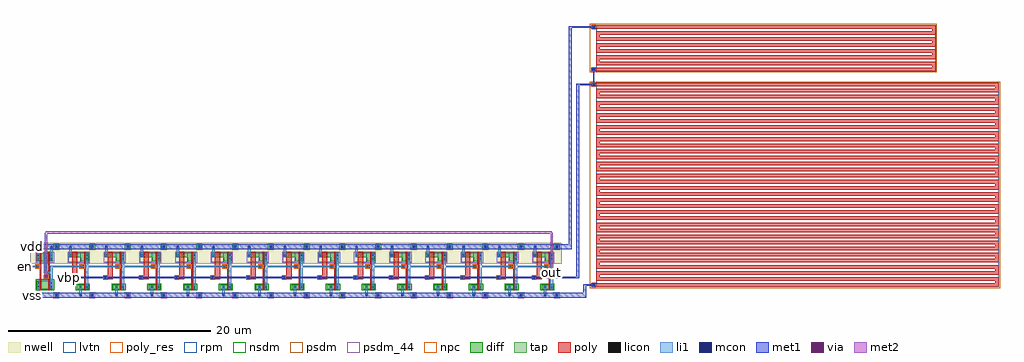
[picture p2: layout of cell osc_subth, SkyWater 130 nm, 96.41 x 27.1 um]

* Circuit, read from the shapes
.subckt osc_subth en out vbp vdd vss
XM1 n1 en vss vss sky130_fd_pr__nfet_01v8 w=0.84 l=0.15
XM2 n2 out n1 vss sky130_fd_pr__nfet_01v8 w=0.84 l=0.15
XM3 n3 n2 vss vss sky130_fd_pr__nfet_01v8 w=0.42 l=0.15
XM4 n4 n3 vss vss sky130_fd_pr__nfet_01v8 w=0.42 l=0.15
XM5 n5 n4 vss vss sky130_fd_pr__nfet_01v8 w=0.42 l=0.15
XM6 n6 n5 vss vss sky130_fd_pr__nfet_01v8 w=0.42 l=0.15
XM7 n7 n6 vss vss sky130_fd_pr__nfet_01v8 w=0.42 l=0.15
XM8 n8 n7 vss vss sky130_fd_pr__nfet_01v8 w=0.42 l=0.15
XM9 n9 n8 vss vss sky130_fd_pr__nfet_01v8 w=0.42 l=0.15
XM10 n10 n9 vss vss sky130_fd_pr__nfet_01v8 w=0.42 l=0.15
XM11 n11 n10 vss vss sky130_fd_pr__nfet_01v8 w=0.42 l=0.15
XM12 n12 n11 vss vss sky130_fd_pr__nfet_01v8 w=0.42 l=0.15
XM13 n13 n12 vss vss sky130_fd_pr__nfet_01v8 w=0.42 l=0.15
XM14 n14 n13 vss vss sky130_fd_pr__nfet_01v8 w=0.42 l=0.15
XM15 n15 n14 vss vss sky130_fd_pr__nfet_01v8 w=0.42 l=0.15
XM16 out n15 vss vss sky130_fd_pr__nfet_01v8 w=0.42 l=0.15
XM17 n2 en vdd vdd sky130_fd_pr__pfet_01v8 w=0.84 l=0.15
XM18 vdd out n2 vdd sky130_fd_pr__pfet_01v8 w=0.84 l=0.15
XM19 n16 vbp vdd vdd sky130_fd_pr__pfet_01v8_lvt w=0.42 l=0.5
XM20 n3 n2 n16 vdd sky130_fd_pr__pfet_01v8 w=0.84 l=0.15
XM21 n17 vbp vdd vdd sky130_fd_pr__pfet_01v8_lvt w=0.42 l=0.5
XM22 n4 n3 n17 vdd sky130_fd_pr__pfet_01v8 w=0.84 l=0.15
XM23 n18 vbp vdd vdd sky130_fd_pr__pfet_01v8_lvt w=0.42 l=0.5
XM24 n5 n4 n18 vdd sky130_fd_pr__pfet_01v8 w=0.84 l=0.15
XM25 n19 vbp vdd vdd sky130_fd_pr__pfet_01v8_lvt w=0.42 l=0.5
XM26 n6 n5 n19 vdd sky130_fd_pr__pfet_01v8 w=0.84 l=0.15
XM27 n20 vbp vdd vdd sky130_fd_pr__pfet_01v8_lvt w=0.42 l=0.5
XM28 n7 n6 n20 vdd sky130_fd_pr__pfet_01v8 w=0.84 l=0.15
XM29 n21 vbp vdd vdd sky130_fd_pr__pfet_01v8_lvt w=0.42 l=0.5
XM30 n8 n7 n21 vdd sky130_fd_pr__pfet_01v8 w=0.84 l=0.15
XM31 n22 vbp vdd vdd sky130_fd_pr__pfet_01v8_lvt w=0.42 l=0.5
XM32 n9 n8 n22 vdd sky130_fd_pr__pfet_01v8 w=0.84 l=0.15
XM33 n23 vbp vdd vdd sky130_fd_pr__pfet_01v8_lvt w=0.42 l=0.5
XM34 n10 n9 n23 vdd sky130_fd_pr__pfet_01v8 w=0.84 l=0.15
XM35 n24 vbp vdd vdd sky130_fd_pr__pfet_01v8_lvt w=0.42 l=0.5
XM36 n11 n10 n24 vdd sky130_fd_pr__pfet_01v8 w=0.84 l=0.15
XM37 n25 vbp vdd vdd sky130_fd_pr__pfet_01v8_lvt w=0.42 l=0.5
XM38 n12 n11 n25 vdd sky130_fd_pr__pfet_01v8 w=0.84 l=0.15
XM39 n26 vbp vdd vdd sky130_fd_pr__pfet_01v8_lvt w=0.42 l=0.5
XM40 n13 n12 n26 vdd sky130_fd_pr__pfet_01v8 w=0.84 l=0.15
XM41 n27 vbp vdd vdd sky130_fd_pr__pfet_01v8_lvt w=0.42 l=0.5
XM42 n14 n13 n27 vdd sky130_fd_pr__pfet_01v8 w=0.84 l=0.15
XM43 n28 vbp vdd vdd sky130_fd_pr__pfet_01v8_lvt w=0.42 l=0.5
XM44 n15 n14 n28 vdd sky130_fd_pr__pfet_01v8 w=0.84 l=0.15
XM45 n29 vbp vdd vdd sky130_fd_pr__pfet_01v8_lvt w=0.42 l=0.5
XM46 out n15 n29 vdd sky130_fd_pr__pfet_01v8 w=0.84 l=0.15
XR47 vss vbp vss sky130_fd_pr__res_high_po w=0.35 l=1359.8
XR48 vbp vdd vss sky130_fd_pr__res_high_po w=0.35 l=269.87
.ends

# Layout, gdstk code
import gdstk
lib = gdstk.Library(unit=1e-6, precision=1e-09)
def R(c, l, rs):  # rectangles x0, y0, x1, y1
    for r in rs: c.add(gdstk.rectangle(r[:2], r[2:], *l))
def A(c, l, x, y, w, h, nx, ny, dx, dy):  # array of equal rectangles
    R(c, l, [(x+i*dx, y+j*dy, x+i*dx+w, y+j*dy+h) for i in range(nx) for j in range(ny)])
nwell = (64, 20)
diff = (65, 20)
tap = (65, 44)
poly_res = (66, 13)
poly = (66, 20)
licon = (66, 44)
li1 = (67, 20)
mcon = (67, 44)
met1 = (68, 20)
via = (68, 44)
met2 = (69, 20)
rpm = (86, 20)
nsdm = (93, 44)
psdm = (94, 20)
psdm_44 = (94, 44)
npc = (95, 20)
lvtn = (125, 44)

osc_subth = lib.new_cell('osc_subth')
R(osc_subth, nwell, [(-0.15,3.09,52.35,5.18)])
A(osc_subth, diff, 4.47, 0.6, 1.14, 0.42, 14, 1, 3.53, 0)
A(osc_subth, diff, 4.82, 3.34, 0.79, 0.84, 14, 1, 3.53, 0)
A(osc_subth, diff, 3.68, 3.76, 1.14, 0.42, 14, 1, 3.53, 0)
R(osc_subth, diff, [(0.5,0.6,2.08,1.44), (0.5,3.34,2.08,4.18)])
A(osc_subth, tap, 2.26, -0.17, 0.34, 0.34, 15, 2, 3.53, 4.78)
R(osc_subth, poly_res, [(55.75,0.825,95.505,20.975), (55.75,22.125,89.28,26.675)])
A(osc_subth, poly, 1.64, 0.47, 0.15, 1.92, 15, 2, 3.53, 1.92)
A(osc_subth, poly, 55.75, 0.825, 39.755, 0.35, 1, 34, 0, 0.6)
A(osc_subth, poly, 95.155, 0.825, 0.35, 0.95, 1, 17, 0, 1.2)
A(osc_subth, poly, 55.75, 1.425, 0.35, 0.95, 1, 16, 0, 1.2)
A(osc_subth, poly, 3.555, 1.575, 0.665, 0.33, 14, 1, 3.53, 0)
A(osc_subth, poly, 3.97, 1.575, 0.5, 2.735, 14, 1, 3.53, 0)
A(osc_subth, poly, 4.755, 2.675, 0.49, 0.33, 14, 1, 3.53, 0)
A(osc_subth, poly, 55.75, 22.125, 33.53, 0.35, 1, 8, 0, 0.6)
A(osc_subth, poly, 88.93, 22.125, 0.35, 0.95, 1, 4, 0, 1.2)
A(osc_subth, poly, 55.75, 22.725, 0.35, 0.95, 1, 3, 0, 1.2)
R(osc_subth, poly, [(0.79,0.47,0.94,2.39), (55.25,0.825,55.75,1.175), (1.225,1.675,1.715,2.005), (0.79,2.39,0.94,4.31), (0.375,2.675,0.865,3.005), (55.25,20.625,55.75,20.975), (55.25,22.125,55.75,22.475), (55.25,26.325,55.75,26.675)])
A(osc_subth, licon, 2.345, -0.085, 0.17, 0.17, 15, 2, 3.53, 4.78)
A(osc_subth, licon, 3.635, 1.655, 0.17, 0.17, 14, 1, 3.53, 0)
A(osc_subth, licon, 4.835, 2.755, 0.17, 0.17, 14, 1, 3.53, 0)
A(osc_subth, licon, 0.56, 3.505, 0.17, 0.17, 3, 2, 0.645, 0.34)
A(osc_subth, licon, 5.38, 3.505, 0.17, 0.17, 14, 2, 3.53, 0.34)
A(osc_subth, licon, 3.74, 3.885, 0.17, 0.17, 14, 1, 3.53, 0)
R(osc_subth, licon, [(4.735,0.725,4.905,0.895), (5.38,0.725,5.55,0.895), (8.265,0.725,8.435,0.895), (8.91,0.725,9.08,0.895), (11.795,0.725,11.965,0.895), (12.44,0.725,12.61,0.895), (15.325,0.725,15.495,0.895), (15.97,0.725,16.14,0.895), (18.855,0.725,19.025,0.895), (19.5,0.725,19.67,0.895), (22.385,0.725,22.555,0.895), (23.03,0.725,23.2,0.895), (25.915,0.725,26.085,0.895), (26.56,0.725,26.73,0.895), (29.445,0.725,29.615,0.895), (30.09,0.725,30.26,0.895), (32.975,0.725,33.145,0.895), (33.62,0.725,33.79,0.895), (36.505,0.725,36.675,0.895), (37.15,0.725,37.32,0.895), (40.035,0.725,40.205,0.895), (40.68,0.725,40.85,0.895), (43.565,0.725,43.735,0.895), (44.21,0.725,44.38,0.895), (47.095,0.725,47.265,0.895), (47.74,0.725,47.91,0.895), (50.625,0.725,50.795,0.895), (51.27,0.725,51.44,0.895), (0.56,0.765,0.73,0.935), (1.85,0.765,2.02,0.935), (55.415,0.915,55.585,1.085), (0.56,1.105,0.73,1.275), (1.85,1.105,2.02,1.275), (1.305,1.755,1.475,1.925), (0.455,2.755,0.625,2.925), (55.415,20.715,55.585,20.885), (55.415,22.215,55.585,22.385), (55.415,26.415,55.585,26.585)])
A(osc_subth, li1, 2.305, -0.125, 0.25, 0.25, 15, 2, 3.53, 4.78)
A(osc_subth, li1, 4.695, 0, 0.25, 0.975, 14, 1, 3.53, 0)
A(osc_subth, li1, 5.34, 0.645, 0.25, 3.45, 14, 1, 3.53, 0)
A(osc_subth, li1, 4.795, 2.715, 0.25, 0.25, 14, 1, 3.53, 0)
A(osc_subth, li1, 1.935, 2.755, 2.985, 0.17, 14, 1, 3.53, 0)
A(osc_subth, li1, 3.7, 3.805, 0.25, 0.975, 14, 1, 3.53, 0)
R(osc_subth, li1, [(0.52,0,0.77,1.355), (1.81,0.685,2.06,2.925), (55.375,0.875,55.625,1.125), (3.595,1.615,3.845,1.865), (3.595,1.615,3.845,1.865), (7.125,1.615,7.375,1.865), (7.125,1.615,7.375,1.865), (10.655,1.615,10.905,1.865), (10.655,1.615,10.905,1.865), (14.185,1.615,14.435,1.865), (14.185,1.615,14.435,1.865), (17.715,1.615,17.965,1.865), (17.715,1.615,17.965,1.865), (21.245,1.615,21.495,1.865), (21.245,1.615,21.495,1.865), (24.775,1.615,25.025,1.865), (24.775,1.615,25.025,1.865), (28.305,1.615,28.555,1.865), (28.305,1.615,28.555,1.865), (31.835,1.615,32.085,1.865), (31.835,1.615,32.085,1.865), (35.365,1.615,35.615,1.865), (35.365,1.615,35.615,1.865), (38.895,1.615,39.145,1.865), (38.895,1.615,39.145,1.865), (42.425,1.615,42.675,1.865), (42.425,1.615,42.675,1.865), (45.955,1.615,46.205,1.865), (45.955,1.615,46.205,1.865), (49.485,1.615,49.735,1.865), (49.485,1.615,49.735,1.865), (1.265,1.715,1.515,1.965), (1.265,1.715,1.515,1.965), (51.23,2.115,51.48,2.365), (1.165,2.155,1.415,4.095), (1.29,2.155,1.935,2.325), (-0.725,2.715,-0.475,2.965), (0.415,2.715,0.665,2.965), (-0.6,2.755,0.54,2.925), (0.52,3.425,0.77,4.78), (1.81,3.425,2.06,4.78), (55.375,20.675,55.625,20.925), (55.375,22.175,55.625,22.425), (55.375,26.375,55.625,26.625)])
A(osc_subth, mcon, 3.635, 1.655, 0.17, 0.17, 14, 1, 3.53, 0)
R(osc_subth, mcon, [(0.56,-0.085,0.73,0.085), (2.345,-0.085,2.515,0.085), (4.735,-0.085,4.905,0.085), (5.875,-0.085,6.045,0.085), (8.265,-0.085,8.435,0.085), (9.405,-0.085,9.575,0.085), (11.795,-0.085,11.965,0.085), (12.935,-0.085,13.105,0.085), (15.325,-0.085,15.495,0.085), (16.465,-0.085,16.635,0.085), (18.855,-0.085,19.025,0.085), (19.995,-0.085,20.165,0.085), (22.385,-0.085,22.555,0.085), (23.525,-0.085,23.695,0.085), (25.915,-0.085,26.085,0.085), (27.055,-0.085,27.225,0.085), (29.445,-0.085,29.615,0.085), (30.585,-0.085,30.755,0.085), (32.975,-0.085,33.145,0.085), (34.115,-0.085,34.285,0.085), (36.505,-0.085,36.675,0.085), (37.645,-0.085,37.815,0.085), (40.035,-0.085,40.205,0.085), (41.175,-0.085,41.345,0.085), (43.565,-0.085,43.735,0.085), (44.705,-0.085,44.875,0.085), (47.095,-0.085,47.265,0.085), (48.235,-0.085,48.405,0.085), (50.625,-0.085,50.795,0.085), (51.765,-0.085,51.935,0.085), (55.415,0.915,55.585,1.085), (1.305,1.755,1.475,1.925), (51.27,2.155,51.44,2.325), (-0.685,2.755,-0.515,2.925), (0.56,4.695,0.73,4.865), (1.85,4.695,2.02,4.865), (2.345,4.695,2.515,4.865), (3.74,4.695,3.91,4.865), (5.875,4.695,6.045,4.865), (7.27,4.695,7.44,4.865), (9.405,4.695,9.575,4.865), (10.8,4.695,10.97,4.865), (12.935,4.695,13.105,4.865), (14.33,4.695,14.5,4.865), (16.465,4.695,16.635,4.865), (17.86,4.695,18.03,4.865), (19.995,4.695,20.165,4.865), (21.39,4.695,21.56,4.865), (23.525,4.695,23.695,4.865), (24.92,4.695,25.09,4.865), (27.055,4.695,27.225,4.865), (28.45,4.695,28.62,4.865), (30.585,4.695,30.755,4.865), (31.98,4.695,32.15,4.865), (34.115,4.695,34.285,4.865), (35.51,4.695,35.68,4.865), (37.645,4.695,37.815,4.865), (39.04,4.695,39.21,4.865), (41.175,4.695,41.345,4.865), (42.57,4.695,42.74,4.865), (44.705,4.695,44.875,4.865), (46.1,4.695,46.27,4.865), (48.235,4.695,48.405,4.865), (49.63,4.695,49.8,4.865), (51.765,4.695,51.935,4.865), (55.415,20.715,55.585,20.885), (55.415,22.215,55.585,22.385), (55.415,26.415,55.585,26.585)])
A(osc_subth, met1, 3.545, 1.565, 0.35, 0.35, 14, 1, 3.53, 0)
R(osc_subth, met1, [(0,-0.24,52.2,0.24), (52.2,-0.24,54.75,0.24), (54.45,0,54.75,1.07), (55.325,0.825,55.675,1.175), (54.6,0.93,55.5,1.07), (1.215,1.665,1.565,2.015), (1.215,1.665,1.565,2.015), (3.72,1.67,49.61,1.81), (49.61,1.67,53.9,1.81), (53.75,1.67,54.05,20.87), (51.18,2.065,51.53,2.415), (51.18,2.065,51.53,2.415), (-0.775,2.665,-0.425,3.015), (0,4.54,52.2,5.02), (52.2,4.54,53.35,5.02), (53.05,4.78,53.35,26.57), (55.325,20.625,55.675,20.975), (53.9,20.73,55.5,20.87), (55.43,20.8,55.57,22.3), (55.325,22.125,55.675,22.475), (55.325,26.325,55.675,26.675), (53.2,26.43,55.5,26.57)])
R(osc_subth, via, [(1.315,1.765,1.465,1.915), (51.28,2.165,51.43,2.315)])
R(osc_subth, met2, [(1.215,1.665,1.565,2.015), (1.275,1.84,1.505,6.18), (51.18,2.065,51.53,2.415), (51.24,2.24,51.47,6.18), (1.39,6.065,51.355,6.295)])
R(osc_subth, rpm, [(55.75,0.825,95.505,20.975), (55.75,22.125,89.28,26.675)])
A(osc_subth, nsdm, 4.345, 0.475, 1.39, 0.67, 14, 1, 3.53, 0)
A(osc_subth, nsdm, 2.13, 4.48, 0.6, 0.6, 15, 1, 3.53, 0)
R(osc_subth, nsdm, [(0.375,0.475,2.205,1.565)])
R(osc_subth, psdm, [(55.125,0.7,95.63,21.1), (55.125,22,89.405,26.8)])
A(osc_subth, psdm_44, 2.13, -0.3, 0.6, 0.6, 15, 1, 3.53, 0)
A(osc_subth, psdm_44, 3.555, 3.215, 2.18, 1.09, 14, 1, 3.53, 0)
R(osc_subth, psdm_44, [(0.375,3.215,2.205,4.305)])
A(osc_subth, npc, 3.505, 1.525, 0.43, 0.43, 14, 1, 3.53, 0)
A(osc_subth, npc, 4.705, 2.625, 0.43, 0.43, 14, 1, 3.53, 0)
R(osc_subth, npc, [(55.285,0.785,55.715,1.215), (1.175,1.625,1.605,2.055), (0.325,2.625,0.755,3.055), (55.285,20.585,55.715,21.015), (55.285,22.085,55.715,22.515), (55.285,26.285,55.715,26.715)])
A(osc_subth, lvtn, 3.58, 3.24, 1.24, 1.04, 14, 1, 3.53, 0)
osc_subth.add(gdstk.Label('vss', (0.1,0), layer=68, texttype=16))
osc_subth.add(gdstk.Label('vdd', (0.1,4.78), layer=68, texttype=16))
osc_subth.add(gdstk.Label('en', (-0.6,2.84), layer=68, texttype=16))
osc_subth.add(gdstk.Label('vbp', (3.72,1.74), layer=68, texttype=16))
osc_subth.add(gdstk.Label('out', (51.355,2.24), layer=68, texttype=16))
osc_subth.add(gdstk.Label('vss', (0.1,0), layer=68, texttype=5))
osc_subth.add(gdstk.Label('vdd', (0.1,4.78), layer=68, texttype=5))
osc_subth.add(gdstk.Label('en', (-0.6,2.84), layer=68, texttype=5))
osc_subth.add(gdstk.Label('vbp', (3.72,1.74), layer=68, texttype=5))
osc_subth.add(gdstk.Label('out', (51.355,2.24), layer=68, texttype=5))

lib.write_gds('osc_subth.gds')
